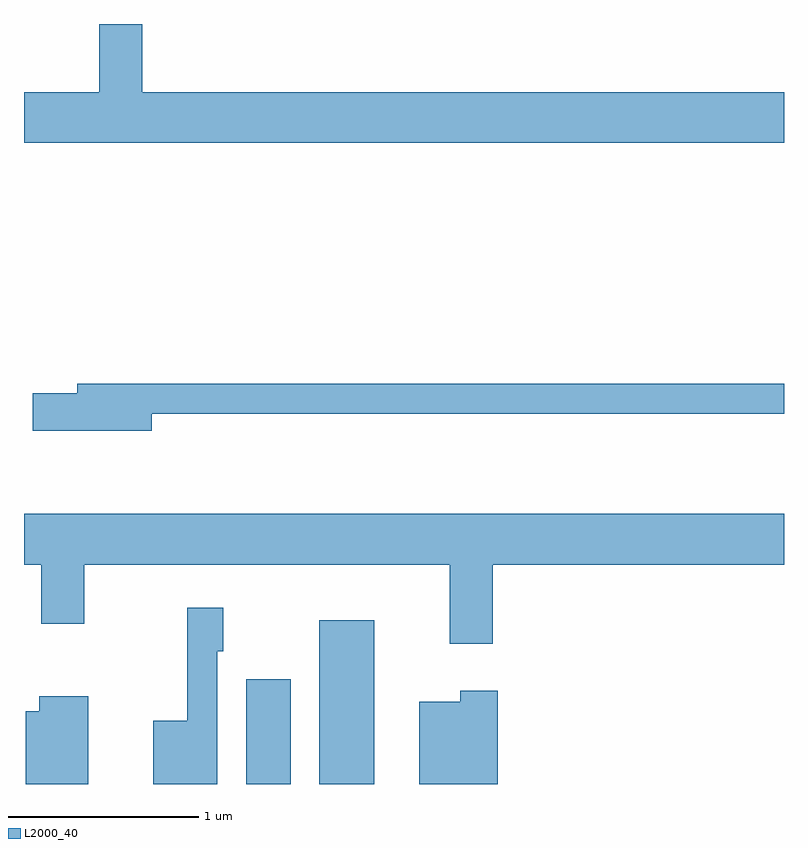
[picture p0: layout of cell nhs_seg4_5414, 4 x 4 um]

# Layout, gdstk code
import gdstk
lib = gdstk.Library(unit=1e-6, precision=1e-09)
def R(c, l, rs):  # rectangles x0, y0, x1, y1
    for r in rs: c.add(gdstk.rectangle(r[:2], r[2:], *l))
def P(c, l, *ps):  # polygons
    for p in ps: c.add(gdstk.Polygon(p, *l))
L2000_40 = (2000, 40)

nhs_seg4_5414 = lib.new_cell('nhs_seg4_5414')
R(nhs_seg4_5414, L2000_40, [(344.781,1337.982,345.014,1338.534), (345.166,1337.982,345.454,1338.844)])
P(nhs_seg4_5414, L2000_40, [(347.611,1341.624),(344.234,1341.624),(344.234,1341.982),(344.006,1341.982),(344.006,1341.624),(343.611,1341.624),(343.611,1341.356),(347.611,1341.356)],
  [(344.284,1339.931),(347.611,1339.931),(347.611,1340.089),(343.891,1340.089),(343.891,1340.039),(343.656,1340.039),(343.656,1339.841),(344.284,1339.841)],
  [(346.079,1339.136),(347.611,1339.136),(347.611,1339.404),(343.611,1339.404),(343.611,1339.136),(343.701,1339.136),(343.701,1338.826),(343.929,1338.826),(343.929,1339.136),(345.851,1339.136),(345.851,1338.721),(346.079,1338.721)],
  [(344.629,1338.681),(344.659,1338.681),(344.659,1338.909),(344.471,1338.909),(344.471,1338.314),(344.291,1338.314),(344.291,1337.982),(344.629,1337.982)],
  [(346.104,1338.474),(345.906,1338.474),(345.906,1338.414),(345.691,1338.414),(345.691,1337.982),(346.104,1337.982)],
  [(343.949,1338.444),(343.691,1338.444),(343.691,1338.364),(343.621,1338.364),(343.621,1337.982),(343.949,1337.982)])

lib.write_gds('nhs_seg4_5414.gds')
